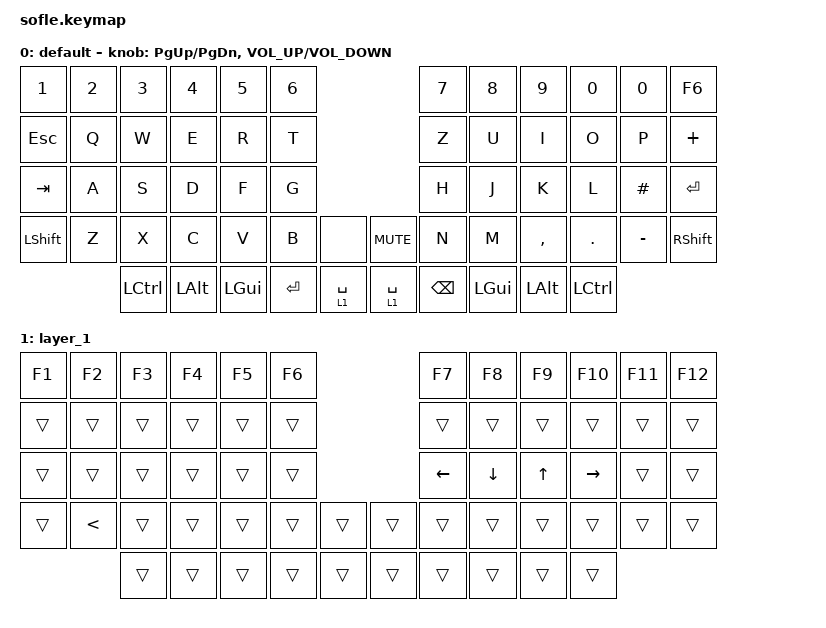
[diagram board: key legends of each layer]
/*
 * Copyright (c) 2020 The ZMK Contributors
 *
 * SPDX-License-Identifier: MIT
 */

#include <behaviors.dtsi>
#include <dt-bindings/zmk/keys.h>
#include "keys_de.h"

#define BASE 0
#define LOWER 1
#define RAISE 2
#define ADJUST 3

/ {
    // Activate ADJUST layer by pressing raise and lower

    conditional_layers {
        compatible = "zmk,conditional-layers";

        adjust_layer {
            if-layers = <1 2>;
            then-layer = <3>;
        };
    };

    keymap {
        compatible = "zmk,keymap";

        default_layer {
            display-name = "default";

            // ------------------------------------------------------------------------------------------------------------
            // |   `   |  1  |  2  |  3   |  4   |  5   |                   |  6   |  7    |  8    |  9   |   0   |       |
            // |  ESC  |  Q  |  W  |  E   |  R   |  T   |                   |  Y   |  U    |  I    |  O   |   P   | BKSPC |
            // |  TAB  |  A  |  S  |  D   |  F   |  G   |                   |  H   |  J    |  K    |  L   |   ;   |   '   |
            // | SHIFT |  Z  |  X  |  C   |  V   |  B   |  MUTE  |  |       |  N   |  M    |  ,    |  .   |   /   | SHIFT |
            //               | GUI | ALT  | CTRL | LOWER|  ENTER |  | SPACE | RAISE| CTRL  | ALT   | GUI  |

            bindings = <
&kp N1     &kp N2  &kp N3     &kp N4    &kp N5    &kp N6                               &kp N7    &kp N8    &kp N9     &kp N0     &kp N0     &kp F6
&kp ESC    &kp Q   &kp W      &kp E     &kp R     &kp T                                &kp Z     &kp U     &kp I      &kp O      &kp P      &kp PLUS
&kp TAB    &kp A   &kp S      &kp D     &kp F     &kp G                                &kp H     &kp J     &kp K      &kp L      &kp POUND  &kp RET
&kp LSHFT  &kp Z   &kp X      &kp C     &kp V     &kp B    &none          &kp K_MUTE   &kp N     &kp M     &kp COMMA  &kp DOT    &kp MINUS  &kp RSHFT
                   &kp LCTRL  &kp LALT  &kp LGUI  &kp RET  &lt 1 SPACE    &lt 1 SPACE  &kp BSPC  &kp LGUI  &kp LALT   &kp LCTRL
            >;

            sensor-bindings =
                <&inc_dec_kp PAGE_UP PAGE_DOWN>,
                <&inc_dec_kp C_VOLUME_UP C_VOLUME_DOWN>;
        };

        layer_1 {
            bindings = <
&kp F1  &kp F2  &kp F3  &kp F4  &kp F5  &kp F6                    &kp F7    &kp F8    &kp F9  &kp F10    &kp F11  &kp F12
&trans  &trans  &trans  &trans  &trans  &trans                    &trans    &trans    &trans  &trans     &trans   &trans
&trans  &trans  &trans  &trans  &trans  &trans                    &kp LEFT  &kp DOWN  &kp UP  &kp RIGHT  &trans   &trans
&trans  &kp LT  &trans  &trans  &trans  &trans  &trans    &trans  &trans    &trans    &trans  &trans     &trans   &trans
                &trans  &trans  &trans  &trans  &trans    &trans  &trans    &trans    &trans  &trans
            >;
        };
    };
};
